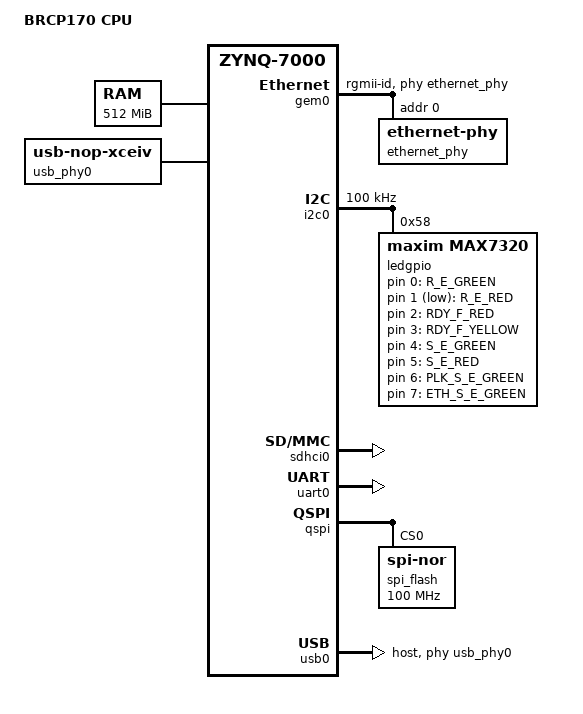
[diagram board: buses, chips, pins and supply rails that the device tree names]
// SPDX-License-Identifier: GPL-2.0+
/*
 * Copyright 2024 B&R Industrial Automation GmbH
 */

/dts-v1/;
/include/ "zynq-7000.dtsi"
#include <dt-bindings/gpio/gpio.h>

/ {
	model = "BRCP170 CPU";
	compatible = "br,cp170",
		     "xlnx,zynq-7000";

	aliases {
		i2c0 = &i2c0;
		serial0 = &uart0;
		spi0 = &qspi;
	};

	memory {
		device_type = "memory";
		reg = <0x0 0x20000000>;
	};

	chosen {
		stdout-path = "serial0:115200n8";
	};

	usb_phy0: phy0 {
		compatible = "usb-nop-xceiv";
		#phy-cells = <0>;
	};

	leds {
		compatible = "gpio-leds";
		re_green {
			label = "R_E_GREEN";
			gpios = <&ledgpio 0 GPIO_ACTIVE_HIGH>;
			default-state = "off";
		};
		re_red {
			label = "R_E_RED";
			gpios = <&ledgpio 1 GPIO_ACTIVE_LOW>;
			default-state = "off";
		};
		rdy_f_red {
			label = "RDY_F_RED";
			gpios = <&ledgpio 2 GPIO_ACTIVE_HIGH>;
			default-state = "off";
		};
		rdy_f_yellow {
			label = "RDY_F_YELLOW";
			gpios = <&ledgpio 3 GPIO_ACTIVE_HIGH>;
			default-state = "off";
		};
		se_green {
			label = "S_E_GREEN";
			gpios = <&ledgpio 4 GPIO_ACTIVE_HIGH>;
			default-state = "off";
		};
		se_red {
			label = "S_E_RED";
			gpios = <&ledgpio 5 GPIO_ACTIVE_HIGH>;
			default-state = "off";
		};
		plk_se_green {
			label = "PLK_S_E_GREEN";
			gpios = <&ledgpio 6 GPIO_ACTIVE_HIGH>;
			default-state = "off";
		};
		eth_se_green {
			label = "ETH_S_E_GREEN";
			gpios = <&ledgpio 7 GPIO_ACTIVE_HIGH>;
			default-state = "off";
		};
	};
};

&gem0 {
	status = "okay";
	phy-mode = "rgmii-id";
	phy-handle = <&ethernet_phy>;

	ethernet_phy: ethernet-phy@0 {
		reg = <0>;
		max-speed = <100>;
		ti,rx-internal-delay = <7>;
		ti,tx-internal-delay = <7>;
		ti,fifo-depth = <0>;
	};
};

&i2c0 {
	status = "okay";
	clock-frequency = <100000>;

	ledgpio: max7320@58 {	/* board LED */
		status = "okay";
		compatible = "maxim,max7320";
		reg = <0x58>;
		#gpio-cells = <2>;
		gpio-controller;
		ngpios = <8>;
	};
};

&sdhci0 {
	status = "okay";
};

&uart0 {
	status = "okay";
};

&qspi {
	status = "okay";
	spi-max-frequency = <100000000>;

	spi_flash: spiflash@0 {
		#address-cells = <1>;
		#size-cells = <1>;
		compatible = "jedec,spi-nor", "spi-flash", "s25fl256s1";
		spi-max-frequency = <100000000>;
		spi-cpol;
		spi-cpha;
		reg = <0>;
	};
};

&usb0 {
	status = "okay";
	dr_mode = "host";
	usb-phy = <&usb_phy0>;
};

&gpio0 {
	status = "okay";
};
